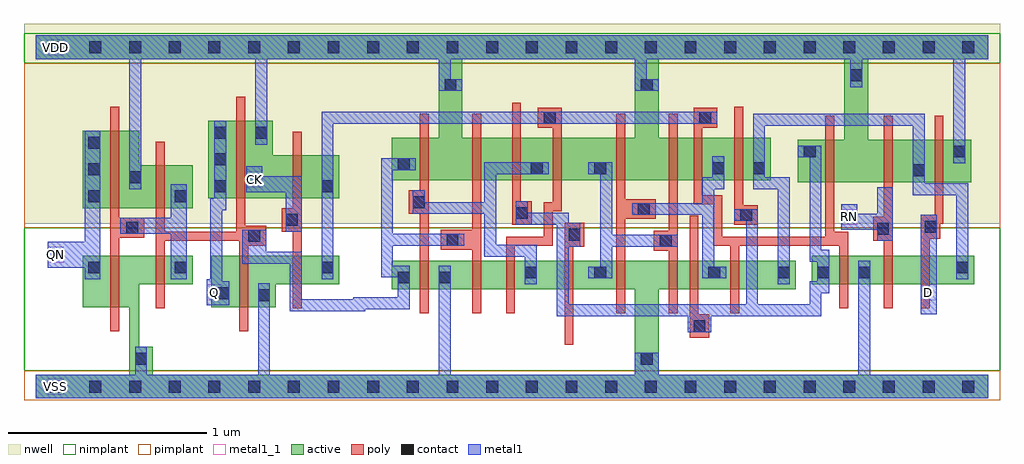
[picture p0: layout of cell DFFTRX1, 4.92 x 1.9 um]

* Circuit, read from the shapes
.subckt DFFTRX1 CK D Q QN RN VDD VSS
M1 VSS n1 QN VSS nfet w=0.26u l=0.045u
M2 n1 n2 VSS VSS nfet w=0.145u l=0.045u
M3 VSS n2 Q VSS nfet w=0.26u l=0.045u
M4 n3 CK VSS VSS nfet w=0.145u l=0.045u
M5 VSS n4 n2 VSS nfet w=0.145u l=0.045u
M6 n5 n2 VSS VSS nfet w=0.145u l=0.045u
M7 n4 n3 n5 VSS nfet w=0.145u l=0.045u
M8 n6 n7 n4 VSS nfet w=0.145u l=0.045u
M9 VSS n8 n6 VSS nfet w=0.145u l=0.045u
M10 n9 n6 VSS VSS nfet w=0.145u l=0.045u
M11 n8 n7 n9 VSS nfet w=0.145u l=0.045u
M12 n10 n3 n8 VSS nfet w=0.145u l=0.045u
M13 VSS n3 n7 VSS nfet w=0.145u l=0.045u
M14 n11 RN VSS VSS nfet w=0.145u l=0.045u
M15 n10 D n11 VSS nfet w=0.145u l=0.045u
M16 VDD n1 QN VDD pfet w=0.39u l=0.045u
M17 n1 n2 VDD VDD pfet w=0.215u l=0.045u
M18 VDD n2 Q VDD pfet w=0.39u l=0.045u
M19 n3 CK VDD VDD pfet w=0.215u l=0.045u
M20 VDD n4 n2 VDD pfet w=0.215u l=0.045u
M21 n12 n2 VDD VDD pfet w=0.215u l=0.045u
M22 n4 n7 n12 VDD pfet w=0.215u l=0.045u
M23 n6 n3 n4 VDD pfet w=0.215u l=0.045u
M24 VDD n8 n6 VDD pfet w=0.215u l=0.045u
M25 n13 n6 VDD VDD pfet w=0.215u l=0.045u
M26 n8 n3 n13 VDD pfet w=0.215u l=0.045u
M27 n10 n7 n8 VDD pfet w=0.215u l=0.045u
M28 VDD n3 n7 VDD pfet w=0.215u l=0.045u
M29 n10 RN VDD VDD pfet w=0.215u l=0.045u
M30 VDD D n10 VDD pfet w=0.215u l=0.045u
.ends

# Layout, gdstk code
import gdstk
lib = gdstk.Library(unit=1e-6, precision=5e-10)
def R(c, l, rs):  # rectangles x0, y0, x1, y1
    for r in rs: c.add(gdstk.rectangle(r[:2], r[2:], *l))
def A(c, l, x, y, w, h, nx, ny, dx, dy):  # array of equal rectangles
    R(c, l, [(x+i*dx, y+j*dy, x+i*dx+w, y+j*dy+h) for i in range(nx) for j in range(ny)])
def P(c, l, *ps):  # polygons
    for p in ps: c.add(gdstk.Polygon(p, *l))
active = (1, 0)
nwell = (2, 0)
poly = (3, 0)
nimplant = (4, 0)
pimplant = (5, 0)
contact = (6, 0)
metal1 = (7, 0)
metal1_1 = (7, 1)

dfftrx1 = lib.new_cell('DFFTRX1')
R(dfftrx1, active, [(3.91,0.515,4.73,0.66)])
P(dfftrx1, active, [(0,1.77),(4.8,1.77),(4.8,1.65),(4.195,1.65),(4.195,1.245),(4.715,1.245),(4.715,1.03),(3.84,1.03),(3.84,1.245),(4.075,1.245),(4.075,1.65),(3.14,1.65),(3.14,1.255),(3.705,1.255),(3.705,1.04),(1.795,1.04),(1.795,1.255),(2.03,1.255),(2.03,1.65),(2.15,1.65),(2.15,1.255),(3.02,1.255),(3.02,1.65),(0,1.65)],
  [(0.87,1.34),(1.195,1.34),(1.195,1.165),(1.53,1.165),(1.53,0.95),(0.87,0.95)],
  [(0.235,1.29),(0.52,1.29),(0.52,1.115),(0.79,1.115),(0.79,0.9),(0.235,0.9)],
  [(0.235,0.66),(0.79,0.66),(0.79,0.515),(0.52,0.515),(0.52,0.2),(0.59,0.2),(0.59,0.06),(3.02,0.06),(3.02,0.49),(1.795,0.49),(1.795,0.635),(3.83,0.635),(3.83,0.49),(3.14,0.49),(3.14,0.06),(4.8,0.06),(4.8,-0.06),(0,-0.06),(0,0.06),(0.47,0.06),(0.47,0.4),(0.235,0.4)],
  [(0.885,0.66),(1.53,0.66),(1.53,0.515),(1.21,0.515),(1.21,0.4),(0.885,0.4)])
R(dfftrx1, nwell, [(-0.06,0.82,4.86,1.83)])
P(dfftrx1, poly, [(0.605,1.235),(0.65,1.235),(0.65,0.78),(1.01,0.78),(1.01,1.46),(1.055,1.46),(1.055,0.81),(1.16,0.81),(1.16,0.71),(1.07,0.71),(1.07,0.28),(1.025,0.28),(1.025,0.735),(0.65,0.735),(0.65,0.395),(0.605,0.395)],
  [(0.375,1.41),(0.42,1.41),(0.42,0.85),(0.545,0.85),(0.545,0.75),(0.42,0.75),(0.42,0.28),(0.375,0.28)],
  [(2.53,1.405),(2.65,1.405),(2.65,0.885),(2.605,0.885),(2.605,0.71),(2.415,0.71),(2.415,0.37),(2.37,0.37),(2.37,0.755),(2.56,0.755),(2.56,0.93),(2.605,0.93),(2.605,1.305),(2.53,1.305)],
  [(1.295,1.285),(1.34,1.285),(1.34,0.395),(1.295,0.395),(1.295,0.78),(1.24,0.78),(1.24,0.9),(1.295,0.9)],
  [(1.935,1.375),(1.98,1.375),(1.98,0.37),(1.935,0.37),(1.935,0.87),(1.88,0.87),(1.88,0.99),(1.935,0.99)],
  [(2.2,1.375),(2.245,1.375),(2.245,0.37),(2.2,0.37),(2.2,0.69),(2.04,0.69),(2.04,0.79),(2.2,0.79)],
  [(2.4,1.43),(2.445,1.43),(2.445,0.935),(2.5,0.935),(2.5,0.815),(2.4,0.815)],
  [(3.315,1.405),(3.435,1.405),(3.435,1.305),(3.36,1.305),(3.36,0.965),(3.46,0.965),(3.46,0.755),(3.98,0.755),(3.98,1.365),(4.025,1.365),(4.025,0.78),(4.095,0.78),(4.095,0.395),(4.05,0.395),(4.05,0.71),(3.545,0.71),(3.545,0.37),(3.5,0.37),(3.5,0.71),(3.415,0.71),(3.415,0.92),(3.315,0.92)],
  [(2.925,1.375),(2.97,1.375),(2.97,0.945),(3.125,0.945),(3.125,0.845),(2.97,0.845),(2.97,0.37),(2.925,0.37)],
  [(3.19,1.375),(3.235,1.375),(3.235,0.37),(3.19,0.37),(3.19,0.685),(3.115,0.685),(3.115,0.785),(3.19,0.785)],
  [(3.52,1.41),(3.565,1.41),(3.565,0.915),(3.64,0.915),(3.64,0.815),(3.52,0.815)],
  [(4.275,1.365),(4.32,1.365),(4.32,0.395),(4.275,0.395),(4.275,0.735),(4.22,0.735),(4.22,0.855),(4.275,0.855)],
  [(4.53,1.365),(4.575,1.365),(4.575,0.82),(4.56,0.82),(4.56,0.745),(4.505,0.745),(4.505,0.395),(4.46,0.395),(4.46,0.865),(4.53,0.865)],
  [(2.665,0.825),(2.765,0.825),(2.765,0.705),(2.71,0.705),(2.71,0.21),(2.665,0.21)],
  [(3.295,0.86),(3.34,0.86),(3.34,0.365),(3.395,0.365),(3.395,0.245),(3.295,0.245)])
R(dfftrx1, nimplant, [(-0.06,0.08,4.86,0.8), (-0.06,1.63,4.86,1.78)])
R(dfftrx1, pimplant, [(-0.06,-0.07,4.86,0.08), (-0.06,0.8,4.86,1.63)])
A(dfftrx1, contact, 0.07, -0.03, 0.06, 0.06, 24, 2, 0.2, 1.71)
A(dfftrx1, contact, 0.265, 0.93, 0.06, 0.06, 1, 3, 0, 0.135)
A(dfftrx1, contact, 0.9, 0.98, 0.06, 0.06, 1, 3, 0, 0.135)
R(dfftrx1, contact, [(0.5,0.11,0.56,0.17), (3.05,0.11,3.11,0.17), (3.315,0.275,3.375,0.335), (1.12,0.43,1.18,0.49), (0.915,0.44,0.975,0.5), (1.825,0.52,1.885,0.58), (2.03,0.52,2.09,0.58), (2.465,0.545,2.525,0.605), (2.815,0.545,2.875,0.605), (3.39,0.545,3.45,0.605), (3.74,0.545,3.8,0.605), (3.94,0.545,4,0.605), (4.145,0.545,4.205,0.605), (0.265,0.57,0.325,0.63), (0.7,0.57,0.76,0.63), (1.44,0.57,1.5,0.63), (4.64,0.57,4.7,0.63), (3.145,0.705,3.205,0.765), (2.07,0.71,2.13,0.77), (1.07,0.73,1.13,0.79), (2.685,0.735,2.745,0.795), (4.24,0.765,4.3,0.825), (0.455,0.77,0.515,0.83), (4.48,0.775,4.54,0.835), (1.26,0.81,1.32,0.87), (3.55,0.835,3.61,0.895), (2.42,0.845,2.48,0.905), (3.035,0.865,3.095,0.925), (1.9,0.9,1.96,0.96), (0.7,0.93,0.76,0.99), (1.44,0.98,1.5,1.04), (0.47,1.025,0.53,1.085), (4.42,1.06,4.48,1.12), (2.495,1.07,2.555,1.13), (2.815,1.07,2.875,1.13), (3.41,1.07,3.47,1.13), (3.615,1.07,3.675,1.13), (1.825,1.09,1.885,1.15), (3.87,1.155,3.93,1.215), (4.625,1.155,4.685,1.215), (1.105,1.25,1.165,1.31), (2.56,1.325,2.62,1.385), (3.345,1.325,3.405,1.385), (2.06,1.49,2.12,1.55), (3.05,1.49,3.11,1.55), (4.105,1.54,4.165,1.6)])
R(dfftrx1, metal1, [(4.46,0.365,4.54,0.865)])
P(dfftrx1, metal1, [(0,1.77),(4.8,1.77),(4.8,1.65),(4.685,1.65),(4.685,1.125),(4.625,1.125),(4.625,1.65),(4.165,1.65),(4.165,1.51),(4.105,1.51),(4.105,1.65),(3.08,1.65),(3.08,1.55),(3.14,1.55),(3.14,1.49),(3.02,1.49),(3.02,1.65),(2.09,1.65),(2.09,1.55),(2.15,1.55),(2.15,1.49),(2.03,1.49),(2.03,1.65),(1.165,1.65),(1.165,1.22),(1.105,1.22),(1.105,1.65),(0.53,1.65),(0.53,0.995),(0.47,0.995),(0.47,1.65),(0,1.65)],
  [(0.245,1.29),(0.325,1.29),(0.325,0.54),(0.245,0.54),(0.245,0.6),(0.06,0.6),(0.06,0.73),(0.245,0.73)],
  [(0.9,1.34),(0.96,1.34),(0.96,0.89),(0.94,0.89),(0.94,0.53),(0.975,0.53),(0.975,0.41),(0.86,0.41),(0.86,0.54),(0.88,0.54),(0.88,0.95),(0.9,0.95)],
  [(1.44,1.385),(3.435,1.385),(3.435,1.325),(1.5,1.325),(1.5,0.54),(1.44,0.54)],
  [(3.615,1.375),(4.48,1.375),(4.48,1.025),(4.7,1.025),(4.7,0.54),(4.64,0.54),(4.64,0.965),(4.42,0.965),(4.42,1.315),(3.675,1.315),(3.675,1.055),(3.8,1.055),(3.8,0.515),(3.74,0.515),(3.74,0.995),(3.615,0.995)],
  [(3.41,1.16),(3.47,1.16),(3.47,0.995),(3.42,0.995),(3.42,0.605),(3.48,0.605),(3.48,0.545),(3.36,0.545),(3.36,0.865),(3.005,0.865),(3.005,0.925),(3.36,0.925),(3.36,1.055),(3.41,1.055)],
  [(0.68,1.02),(0.76,1.02),(0.76,0.54),(0.68,0.54),(0.68,0.77),(0.425,0.77),(0.425,0.85),(0.68,0.85)],
  [(1.06,1.11),(1.14,1.11),(1.14,1.06),(1.34,1.06),(1.34,0.78),(1.26,0.78),(1.26,0.98),(1.06,0.98)],
  [(1.74,1.15),(1.915,1.15),(1.915,1.09),(1.8,1.09),(1.8,0.77),(2.16,0.77),(2.16,0.71),(1.8,0.71),(1.8,0.61),(1.885,0.61),(1.885,0.39),(1.66,0.39),(1.66,0.38),(1.28,0.38),(1.28,0.62),(1.04,0.62),(1.04,0.79),(1.16,0.79),(1.16,0.68),(1.34,0.68),(1.34,0.44),(1.6,0.44),(1.6,0.45),(1.825,0.45),(1.825,0.55),(1.74,0.55)],
  [(0.5,0.2),(0.56,0.2),(0.56,0.06),(1.12,0.06),(1.12,0.52),(1.18,0.52),(1.18,0.06),(2.03,0.06),(2.03,0.61),(2.09,0.61),(2.09,0.06),(3.02,0.06),(3.02,0.17),(3.14,0.17),(3.14,0.06),(4.145,0.06),(4.145,0.635),(4.205,0.635),(4.205,0.06),(4.8,0.06),(4.8,-0.06),(0,-0.06),(0,0.06),(0.5,0.06)],
  [(2.26,1.13),(2.585,1.13),(2.585,1.07),(2.32,1.07),(2.32,0.715),(2.525,0.715),(2.525,0.515),(2.465,0.515),(2.465,0.655),(2.26,0.655),(2.26,0.87),(1.9,0.87),(1.9,0.99),(1.96,0.99),(1.96,0.93),(2.26,0.93)],
  [(2.785,1.13),(2.905,1.13),(2.905,0.765),(3.235,0.765),(3.235,0.705),(2.905,0.705),(2.905,0.545),(2.785,0.545),(2.785,0.605),(2.845,0.605),(2.845,1.07),(2.785,1.07)],
  [(3.84,1.215),(3.96,1.215),(3.96,0.69),(4,0.69),(4,0.47),(3.96,0.47),(3.96,0.355),(3.405,0.355),(3.405,0.275),(3.285,0.275),(3.285,0.355),(2.625,0.355),(2.625,0.815),(2.42,0.815),(2.42,0.935),(2.48,0.935),(2.48,0.875),(2.685,0.875),(2.685,0.825),(2.745,0.825),(2.745,0.705),(2.685,0.705),(2.685,0.415),(3.58,0.415),(3.58,0.835),(3.52,0.835),(3.52,0.895),(3.64,0.895),(3.64,0.415),(3.9,0.415),(3.9,0.53),(3.94,0.53),(3.94,0.63),(3.9,0.63),(3.9,1.155),(3.84,1.155)],
  [(4.06,0.92),(4.14,0.92),(4.14,0.87),(4.24,0.87),(4.24,1.005),(4.32,1.005),(4.32,0.735),(4.24,0.735),(4.24,0.79),(4.06,0.79)])
R(dfftrx1, metal1_1, [(0.06,-0.04,0.14,0.04), (0.86,0.435,0.94,0.515), (4.46,0.435,4.54,0.515), (0.06,0.625,0.14,0.705), (4.06,0.815,4.14,0.895), (1.06,1.005,1.14,1.085), (0.06,1.67,0.14,1.75)])
dfftrx1.add(gdstk.Label('Q', (0.9,0.475), layer=7, texttype=1))
dfftrx1.add(gdstk.Label('QN', (0.1,0.665), layer=7, texttype=1))
dfftrx1.add(gdstk.Label('D', (4.5,0.475), layer=7, texttype=1))
dfftrx1.add(gdstk.Label('RN', (4.1,0.855), layer=7, texttype=1))
dfftrx1.add(gdstk.Label('CK', (1.1,1.045), layer=7, texttype=1))
dfftrx1.add(gdstk.Label('VDD', (0.1,1.71), layer=7, texttype=1))
dfftrx1.add(gdstk.Label('VSS', (0.1,0), layer=7, texttype=1))
dfftrx1.add(gdstk.Label('DFFTRX1', (0,0), layer=63, texttype=0))

lib.write_gds('DFFTRX1.gds')
